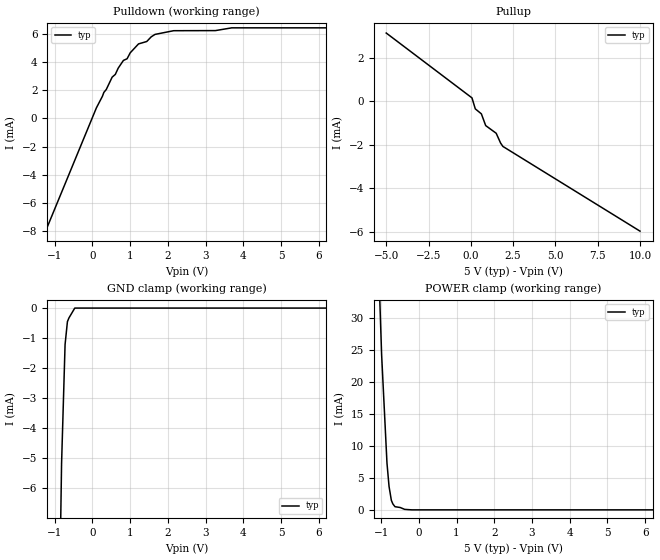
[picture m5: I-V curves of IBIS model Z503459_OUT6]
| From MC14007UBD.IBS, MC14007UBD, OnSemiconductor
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| (C) COPYRIGHT 1993-2000
| MENTOR GRAPHICS CORPORATION
| ICX STANDARD LIBRARY, ICX PROJECT MODELING,
| ICX CUSTOM MODELING, ICX VENDOR MODEL
| ALL RIGHTS RESERVED.
| THE FOLLOWING ARE TRADEMARKS OR SERVICE MARKS OF
| MENTOR GRAPHICS CORPORATION:ICX (R), ICX STANDARD
| LIBRARY(R), ICX PROJECT MODELING(R), ICX CUSTOM
| MODELING(R), qualityIBIS(TM), MODELVIEWER(TM),
| AND MODELEDITOR(TM)
| ALL COPIES OF SOFTWARE, INCLUDING BUT NOT LIMITED TO
| ANY MODIFICATIONS, ENHANCEMENTS OR DERIVATIVE WORKS,
| MUST CONTAIN ALL MENTOR GRAPHICS CORPORATION'S
| NOTICES AND LEGENDS, INCLUDING THOSE EMBEDDED IN
| SOFTWARE AND THOSE AFFIXED TO SOFTWARE MEDIUM
| AND CONTAINER, AS RECEIVED FROM MENTOR GRAPHICS
| CORPORATION.
| Model Application Version 1.89 2/18/99.
[Model] Z503459_OUT6
Model_type Output
Vref=0.000V
Rref=500.0Mohms
Cref=50.00pF
Vmeas=2.500V
C_comp 8.000pF NA NA
| variable typ   min   max
[Voltage Range] 5.000V NA NA
[POWER Clamp Reference] 5.000V NA NA
[Pullup Reference] 5.000V NA NA
[Pulldown Reference] 0.000V NA NA
[GND Clamp Reference] 0.000V NA NA
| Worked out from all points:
|   slope of the pulldown table from 0 to 0.75 V, typ, clamps not added: 199 ohm
|   slope of the pullup table from 0 to 0.75 V, typ, clamps not added: 719 ohm
|   GND clamp passes 1 mA (typ) near -0.71 V on its own axis
|   POWER clamp passes 1 mA (typ) near -0.69 V on its own axis
[GND Clamp]
-5V       -351.2mA   NA         NA
-818.9mV  -5.173mA   NA         NA
-726.2mV  -1.216mA   NA         NA
-664mV    -452.1uA   NA         NA
-625mV    -331.7uA   NA         NA
-468.8mV  0A         NA         NA
10V       0A         NA         NA
[Pulldown]
-5V       -32.44mA   NA         NA
104.3mV   756.8uA    NA         NA
522.3mV   2.941mA    NA         NA
605.3mV   3.13mA     NA         NA
820.4mV   4.126mA    NA         NA
918mV     4.246mA    NA         NA
1.221V    5.301mA    NA         NA
1.439V    5.471mA    NA         NA
1.658V    5.976mA    NA         NA
2.153V    6.239mA    NA         NA
3.692V    6.442mA    NA         NA
10V       6.442mA    NA         NA
[Pullup]
-5V       3.144mA    NA         NA
68mV      157uA      NA         NA
264mV     -348.4uA   NA         NA
624mV     -579.4uA   NA         NA
879mV     -1.12mA    NA         NA
1.499V    -1.472mA   NA         NA
1.761V    -1.926mA   NA         NA
1.895V    -2.079mA   NA         NA
10V       -5.981mA   NA         NA
[POWER Clamp]
-5V       855.5mA    NA         NA
-1.171V   56.99mA    NA         NA
-986mV    24.32mA    NA         NA
-844mV    7.325mA    NA         NA
-789mV    3.661mA    NA         NA
-728mV    1.493mA    NA         NA
-689mV    942.8uA    NA         NA
-632mV    496.4uA    NA         NA
-492mV    366.3uA    NA         NA
-376mV    77.07uA    NA         NA
-188mV    0A         NA         NA
10V       0A         NA         NA
[Ramp]
| variable typ min max
dV/dt_r 869.7m/16.61n NA NA
dV/dt_f 869.7m/6.380n NA NA
R_load = 500.0Ohms
